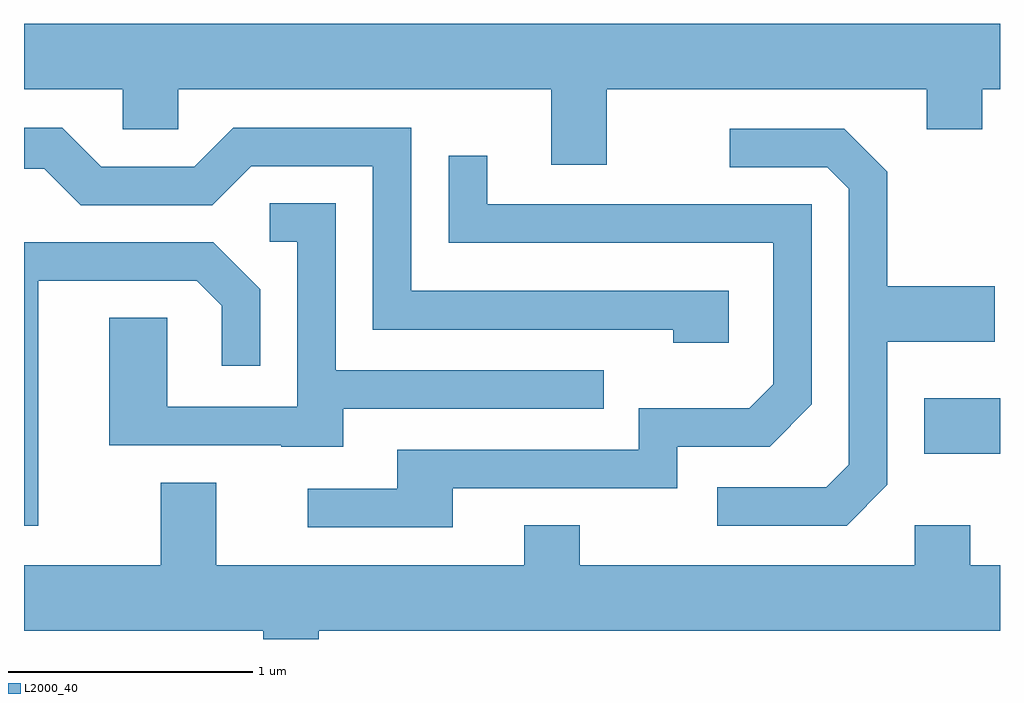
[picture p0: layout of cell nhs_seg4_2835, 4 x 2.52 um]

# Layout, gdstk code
import gdstk
lib = gdstk.Library(unit=1e-6, precision=1e-09)
def R(c, l, rs):  # rectangles x0, y0, x1, y1
    for r in rs: c.add(gdstk.rectangle(r[:2], r[2:], *l))
def P(c, l, *ps):  # polygons
    for p in ps: c.add(gdstk.Polygon(p, *l))
L2000_40 = (2000, 40)

nhs_seg4_2835 = lib.new_cell('nhs_seg4_2835')
R(nhs_seg4_2835, L2000_40, [(271.301,1348.741,271.611,1348.969)])
P(nhs_seg4_2835, L2000_40, [(269.999,1350.236),(271.311,1350.236),(271.311,1350.071),(271.539,1350.071),(271.539,1350.236),(271.611,1350.236),(271.611,1350.504),(267.611,1350.504),(267.611,1350.236),(268.016,1350.236),(268.016,1350.071),(268.244,1350.071),(268.244,1350.236),(269.771,1350.236),(269.771,1349.926),(269.999,1349.926)],
  [(270.499,1349.409),(269.199,1349.409),(269.199,1350.079),(268.469,1350.079),(268.309,1349.919),(267.927,1349.919),(267.767,1350.079),(267.611,1350.079),(267.611,1349.911),(267.694,1349.911),(267.844,1349.761),(268.382,1349.761),(268.542,1349.921),(269.041,1349.921),(269.041,1349.251),(270.271,1349.251),(270.271,1349.196),(270.499,1349.196)],
  [(271.149,1348.614),(271.149,1349.201),(271.589,1349.201),(271.589,1349.429),(271.149,1349.429),(271.149,1349.897),(270.972,1350.074),(270.503,1350.074),(270.503,1349.916),(270.904,1349.916),(270.991,1349.829),(270.991,1348.697),(270.899,1348.604),(270.453,1348.604),(270.453,1348.446),(270.982,1348.446)],
  [(269.369,1348.601),(270.289,1348.601),(270.289,1348.771),(270.667,1348.771),(270.839,1348.944),(270.839,1349.764),(269.509,1349.764),(269.509,1349.963),(269.351,1349.963),(269.351,1349.606),(270.681,1349.606),(270.681,1349.027),(270.584,1348.929),(270.131,1348.929),(270.131,1348.759),(269.141,1348.759),(269.141,1348.599),(268.773,1348.599),(268.773,1348.441),(269.369,1348.441)],
  [(268.919,1348.926),(269.988,1348.926),(269.988,1349.084),(268.889,1349.084),(268.889,1349.769),(268.618,1349.769),(268.618,1349.611),(268.731,1349.611),(268.731,1348.934),(268.199,1348.934),(268.199,1349.299),(267.961,1349.299),(267.961,1348.776),(268.665,1348.776),(268.665,1348.771),(268.919,1348.771)],
  [(267.669,1349.451),(268.319,1349.451),(268.421,1349.349),(268.421,1349.103),(268.579,1349.103),(268.579,1349.417),(268.387,1349.609),(267.611,1349.609),(267.611,1348.446),(267.669,1348.446)],
  [(268.819,1348.016),(271.611,1348.016),(271.611,1348.284),(271.489,1348.284),(271.489,1348.449),(271.261,1348.449),(271.261,1348.284),(269.889,1348.284),(269.889,1348.449),(269.661,1348.449),(269.661,1348.284),(268.399,1348.284),(268.399,1348.624),(268.171,1348.624),(268.171,1348.284),(267.611,1348.284),(267.611,1348.016),(268.591,1348.016),(268.591,1347.982),(268.819,1347.982)])

lib.write_gds('nhs_seg4_2835.gds')
